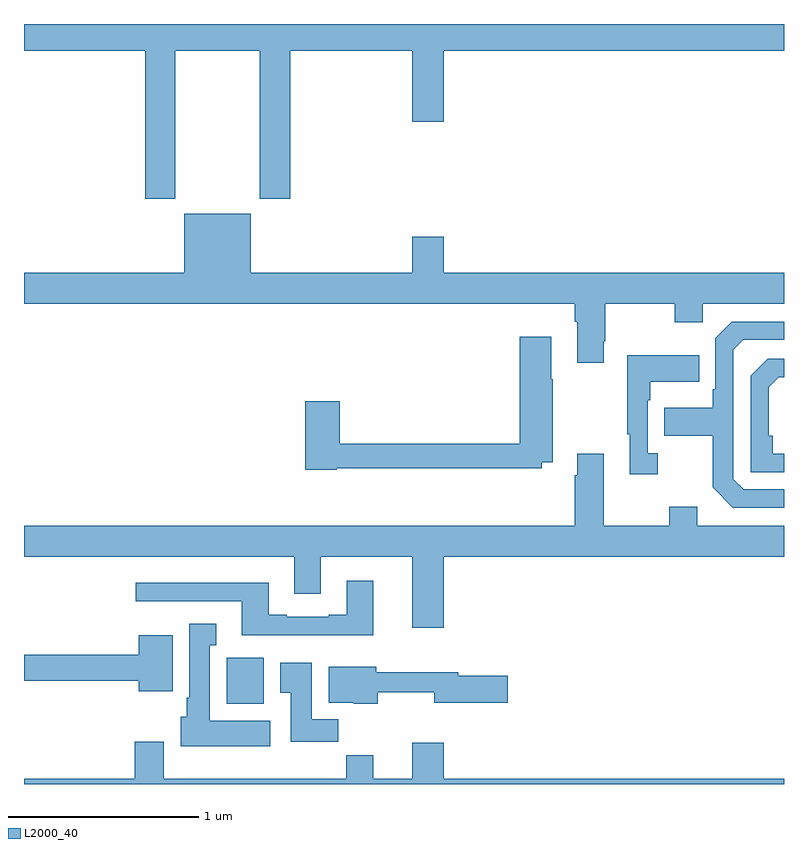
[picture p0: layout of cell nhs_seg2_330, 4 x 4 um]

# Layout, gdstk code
import gdstk
lib = gdstk.Library(unit=1e-6, precision=1e-09)
def R(c, l, rs):  # rectangles x0, y0, x1, y1
    for r in rs: c.add(gdstk.rectangle(r[:2], r[2:], *l))
def P(c, l, *ps):  # polygons
    for p in ps: c.add(gdstk.Polygon(p, *l))
L2000_40 = (2000, 40)

nhs_seg2_330 = lib.new_cell('nhs_seg2_330')
R(nhs_seg2_330, L2000_40, [(128.066,620.222,128.263,620.464)])
P(nhs_seg2_330, L2000_40, [(127.797,623.66),(128.242,623.66),(128.242,622.881),(128.402,622.881),(128.402,623.66),(129.044,623.66),(129.044,623.286),(129.208,623.286),(129.208,623.66),(131,623.66),(131,623.8),(127,623.8),(127,623.66),(127.637,623.66),(127.637,622.881),(127.797,622.881)],
  [(130.051,622.129),(130.059,622.129),(130.059,622.328),(130.426,622.328),(130.426,622.229),(130.572,622.229),(130.572,622.328),(131,622.328),(131,622.492),(129.208,622.492),(129.208,622.681),(129.044,622.681),(129.044,622.492),(128.194,622.492),(128.194,622.801),(127.844,622.801),(127.844,622.492),(127,622.492),(127,622.328),(129.899,622.328),(129.899,622.232),(129.911,622.232),(129.911,622.017),(130.051,622.017)],
  [(131,621.351),(130.788,621.351),(130.734,621.405),(130.734,622.086),(130.785,622.137),(131,622.137),(131,622.233),(130.725,622.233),(130.638,622.146),(130.638,621.877),(130.626,621.877),(130.626,621.781),(130.369,621.781),(130.369,621.634),(130.626,621.634),(130.626,621.361),(130.731,621.255),(131,621.255)],
  [(128.646,621.462),(129.726,621.462),(129.726,621.494),(129.783,621.494),(129.783,621.929),(129.775,621.929),(129.775,622.153),(129.608,622.153),(129.608,621.59),(128.663,621.59),(128.663,621.814),(128.48,621.814),(128.48,621.454),(128.646,621.454)],
  [(130.336,621.542),(130.284,621.542),(130.284,621.821),(130.297,621.821),(130.297,621.917),(130.553,621.917),(130.553,622.057),(130.176,622.057),(130.176,621.641),(130.187,621.641),(130.187,621.429),(130.336,621.429)],
  [(131,621.537),(130.94,621.537),(130.94,621.634),(130.92,621.634),(130.92,621.888),(130.973,621.941),(131,621.941),(131,622.038),(130.914,622.038),(130.824,621.948),(130.824,621.441),(131,621.441)],
  [(129.208,620.996),(131,620.996),(131,621.16),(130.543,621.16),(130.543,621.259),(130.396,621.259),(130.396,621.16),(130.051,621.16),(130.051,621.538),(129.911,621.538),(129.911,621.425),(129.899,621.425),(129.899,621.16),(127,621.16),(127,620.996),(128.423,620.996),(128.423,620.802),(128.563,620.802),(128.563,620.996),(129.044,620.996),(129.044,620.622),(129.208,620.622)],
  [(128.839,620.869),(128.699,620.869),(128.699,620.692),(128.603,620.692),(128.603,620.679),(128.383,620.679),(128.383,620.692),(128.287,620.692),(128.287,620.86),(127.587,620.86),(127.587,620.763),(128.147,620.763),(128.147,620.582),(128.839,620.582)],
  [(128.296,620.134),(127.978,620.134),(127.978,620.531),(128.011,620.531),(128.011,620.644),(127.871,620.644),(127.871,620.254),(127.856,620.254),(127.856,620.154),(127.826,620.154),(127.826,620),(128.296,620)],
  [(127.783,620.584),(127.604,620.584),(127.604,620.48),(127,620.48),(127,620.344),(127.604,620.344),(127.604,620.288),(127.783,620.288)],
  [(128.654,620.14),(128.515,620.14),(128.515,620.437),(128.348,620.437),(128.348,620.281),(128.405,620.281),(128.405,620.022),(128.654,620.022)],
  [(128.862,620.284),(129.158,620.284),(129.158,620.227),(129.547,620.227),(129.547,620.369),(129.286,620.369),(129.286,620.388),(128.854,620.388),(128.854,620.416),(128.603,620.416),(128.603,620.228),(128.736,620.228),(128.736,620.222),(128.862,620.222)],
  [(128.695,619.952),(128.695,619.828),(127.735,619.828),(127.735,620.023),(127.583,620.023),(127.583,619.828),(127,619.828),(127,619.8),(131,619.8),(131,619.828),(129.208,619.828),(129.208,620.017),(129.044,620.017),(129.044,619.828),(128.839,619.828),(128.839,619.952)])

lib.write_gds('nhs_seg2_330.gds')
